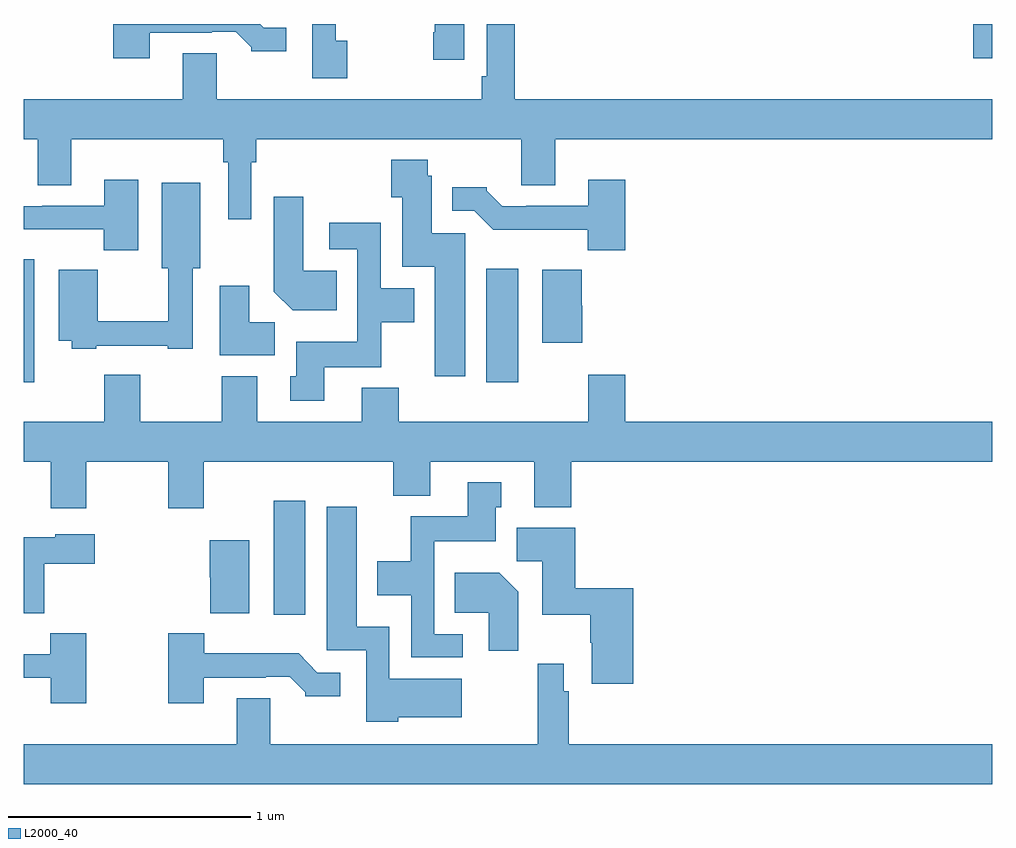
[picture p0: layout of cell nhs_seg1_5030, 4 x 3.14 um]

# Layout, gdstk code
import gdstk
lib = gdstk.Library(unit=1e-6, precision=1e-09)
def R(c, l, rs):  # rectangles x0, y0, x1, y1
    for r in rs: c.add(gdstk.rectangle(r[:2], r[2:], *l))
def P(c, l, *ps):  # polygons
    for p in ps: c.add(gdstk.Polygon(p, *l))
L2000_40 = (2000, 40)

nhs_seg1_5030 = lib.new_cell('nhs_seg1_5030')
R(nhs_seg1_5030, L2000_40, [(384.032,557.76,384.163,558.229), (383,558.72,383.044,559.228), (384.911,558.72,385.042,559.189), (386.921,560.058,387,560.199)])
P(nhs_seg1_5030, L2000_40, [(384.82,560.199),(384.698,560.199),(384.698,560.164),(384.691,560.164),(384.691,560.052),(384.82,560.052)],
  [(383.521,560.163),(383.777,560.163),(383.777,560.166),(383.876,560.166),(383.94,560.102),(383.94,560.087),(384.085,560.087),(384.085,560.184),(383.991,560.184),(383.976,560.199),(383.369,560.199),(383.369,560.058),(383.521,560.058)],
  [(384.336,560.13),(384.288,560.13),(384.288,560.199),(384.192,560.199),(384.192,559.974),(384.336,559.974)],
  [(383.94,559.628),(383.96,559.628),(383.96,559.724),(385.055,559.724),(385.055,559.534),(385.195,559.534),(385.195,559.724),(387,559.724),(387,559.888),(385.028,559.888),(385.028,560.199),(384.912,560.199),(384.912,559.984),(384.892,559.984),(384.892,559.888),(383.797,559.888),(383.797,560.078),(383.657,560.078),(383.657,559.888),(383,559.888),(383,559.724),(383.057,559.724),(383.057,559.534),(383.197,559.534),(383.197,559.724),(383.824,559.724),(383.824,559.628),(383.844,559.628),(383.844,559.392),(383.94,559.392)],
  [(384.823,559.335),(384.685,559.335),(384.685,559.572),(384.669,559.572),(384.669,559.639),(384.517,559.639),(384.517,559.483),(384.563,559.483),(384.563,559.196),(384.698,559.196),(384.698,558.744),(384.823,558.744)],
  [(385.484,559.555),(385.331,559.555),(385.331,559.449),(385.075,559.449),(385.075,559.446),(384.976,559.446),(384.912,559.51),(384.912,559.525),(384.77,559.525),(384.77,559.428),(384.861,559.428),(384.94,559.35),(385.329,559.35),(385.329,559.265),(385.484,559.265)],
  [(383.473,559.555),(383.333,559.555),(383.333,559.449),(383.077,559.449),(383.077,559.446),(383,559.446),(383,559.352),(383.331,559.352),(383.331,559.265),(383.473,559.265)],
  [(383.299,558.87),(383.594,558.87),(383.594,558.858),(383.697,558.858),(383.697,559.19),(383.728,559.19),(383.728,559.543),(383.57,559.543),(383.57,559.19),(383.596,559.19),(383.596,558.971),(383.306,558.971),(383.306,559.183),(383.144,559.183),(383.144,558.89),(383.199,558.89),(383.199,558.858),(383.299,558.858)],
  [(384.293,559.18),(384.154,559.18),(384.154,559.486),(384.032,559.486),(384.032,559.094),(384.11,559.016),(384.293,559.016)],
  [(384.241,558.782),(384.477,558.782),(384.477,558.968),(384.613,558.968),(384.613,559.108),(384.474,559.108),(384.474,559.378),(384.261,559.378),(384.261,559.269),(384.378,559.269),(384.378,558.886),(384.125,558.886),(384.125,558.744),(384.101,558.744),(384.101,558.642),(384.241,558.642)],
  [(385.306,559.035),(385.304,559.035),(385.304,559.183),(385.142,559.183),(385.142,558.882),(385.306,558.882)],
  [(384.037,558.968),(383.932,558.968),(383.932,559.117),(383.81,559.117),(383.81,558.83),(384.037,558.83)],
  [(383.259,558.392),(383.596,558.392),(383.596,558.198),(383.743,558.198),(383.743,558.392),(384.527,558.392),(384.527,558.251),(384.679,558.251),(384.679,558.392),(385.109,558.392),(385.109,558.203),(385.262,558.203),(385.262,558.392),(387,558.392),(387,558.556),(385.484,558.556),(385.484,558.751),(385.331,558.751),(385.331,558.556),(384.548,558.556),(384.548,558.697),(384.395,558.697),(384.395,558.556),(383.965,558.556),(383.965,558.745),(383.818,558.745),(383.818,558.556),(383.481,558.556),(383.481,558.751),(383.333,558.751),(383.333,558.556),(383,558.556),(383,558.392),(383.111,558.392),(383.111,558.198),(383.259,558.198)],
  [(384.814,557.679),(384.696,557.679),(384.696,558.062),(384.949,558.062),(384.949,558.204),(384.973,558.204),(384.973,558.307),(384.833,558.307),(384.833,558.166),(384.598,558.166),(384.598,557.98),(384.461,557.98),(384.461,557.84),(384.6,557.84),(384.6,557.583),(384.814,557.583)],
  [(384.546,557.336),(384.808,557.336),(384.808,557.494),(384.51,557.494),(384.51,557.71),(384.376,557.71),(384.376,558.205),(384.251,558.205),(384.251,557.613),(384.414,557.613),(384.414,557.318),(384.546,557.318)],
  [(385.517,557.869),(385.277,557.869),(385.277,558.118),(385.037,558.118),(385.037,557.98),(385.142,557.98),(385.142,557.759),(385.339,557.759),(385.339,557.644),(385.346,557.644),(385.346,557.475),(385.517,557.475)],
  [(383.084,557.969),(383.293,557.969),(383.293,558.091),(383.13,558.091),(383.13,558.079),(383,558.079),(383,557.765),(383.084,557.765)],
  [(383.932,558.067),(383.768,558.067),(383.768,557.913),(383.77,557.913),(383.77,557.765),(383.932,557.765)],
  [(385.042,557.854),(384.964,557.932),(384.781,557.932),(384.781,557.768),(384.92,557.768),(384.92,557.61),(385.042,557.61)],
  [(383.259,557.683),(383.109,557.683),(383.109,557.596),(383,557.596),(383,557.499),(383.111,557.499),(383.111,557.394),(383.259,557.394)],
  [(383.743,557.499),(383.999,557.499),(383.999,557.502),(384.098,557.502),(384.162,557.438),(384.162,557.423),(384.307,557.423),(384.307,557.52),(384.213,557.52),(384.135,557.599),(383.746,557.599),(383.746,557.683),(383.596,557.683),(383.596,557.394),(383.743,557.394)],
  [(387,557.224),(385.25,557.224),(385.25,557.444),(385.23,557.444),(385.23,557.557),(385.122,557.557),(385.122,557.224),(384.019,557.224),(384.019,557.414),(383.879,557.414),(383.879,557.224),(383,557.224),(383,557.06),(387,557.06)])

lib.write_gds('nhs_seg1_5030.gds')
